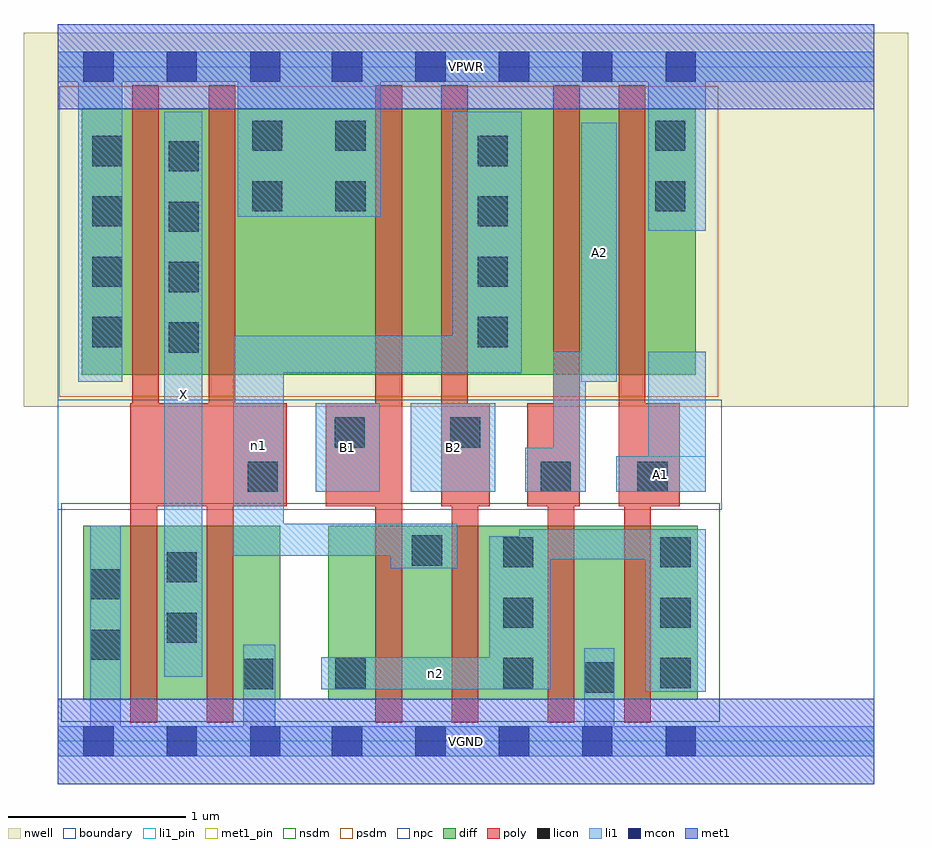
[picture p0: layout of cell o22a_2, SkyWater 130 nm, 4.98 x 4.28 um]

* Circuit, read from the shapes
.subckt o22a_2 A1 A2 B1 B2 VGND VPWR X n1 n2
XM1 X n1 VGND VSUBS sky130_fd_pr__nfet_01v8 w=0.98 l=0.15 m=2
XM2 n1 B1 n2 VSUBS sky130_fd_pr__nfet_01v8 w=0.98 l=0.15
XM3 n2 B2 n1 VSUBS sky130_fd_pr__nfet_01v8 w=0.98 l=0.15
XM4 VGND A2 n2 VSUBS sky130_fd_pr__nfet_01v8 w=0.98 l=0.15
XM5 n2 A1 VGND VSUBS sky130_fd_pr__nfet_01v8 w=0.98 l=0.15
XM6 X n1 VPWR n3 sky130_fd_pr__pfet_01v8 w=1.5 l=0.15 m=2
XM7 n4 B1 VPWR n3 sky130_fd_pr__pfet_01v8 w=1.5 l=0.15
XM8 n1 B2 n4 n3 sky130_fd_pr__pfet_01v8 w=1.5 l=0.15
XM9 n5 A2 n1 n3 sky130_fd_pr__pfet_01v8 w=1.5 l=0.15
XM10 VPWR A1 n5 n3 sky130_fd_pr__pfet_01v8 w=1.5 l=0.15
.ends

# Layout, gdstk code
import gdstk
lib = gdstk.Library(unit=1e-6, precision=1e-09)
def R(c, l, rs):  # rectangles x0, y0, x1, y1
    for r in rs: c.add(gdstk.rectangle(r[:2], r[2:], *l))
def A(c, l, x, y, w, h, nx, ny, dx, dy):  # array of equal rectangles
    R(c, l, [(x+i*dx, y+j*dy, x+i*dx+w, y+j*dy+h) for i in range(nx) for j in range(ny)])
nwell = (64, 20)
diff = (65, 20)
poly = (66, 20)
licon = (66, 44)
li1_pin = (67, 16)
li1 = (67, 20)
mcon = (67, 44)
met1_pin = (68, 16)
met1 = (68, 20)
nsdm = (93, 44)
psdm = (94, 20)
npc = (95, 20)
boundary = (235, 4)

o22a_2 = lib.new_cell('o22a_2')
R(o22a_2, nwell, [(-0.19,1.885,4.79,3.99), (0,1.885,4.6,3.99)])
R(o22a_2, diff, [(0.145,0.235,1.255,1.215), (1.525,0.235,3.605,1.215), (0.135,2.065,3.595,3.565)])
R(o22a_2, poly, [(0.41,0.105,0.56,1.905), (0.84,0.105,0.99,1.905), (1.79,0.105,1.94,3.695), (2.22,0.105,2.37,1.905), (2.76,0.105,2.91,1.905), (3.19,0.105,3.34,1.905), (0.41,1.325,1.29,1.905), (0.42,1.325,0.57,3.695), (0.85,1.325,1,3.695), (1.51,1.325,1.94,1.905), (2.16,1.325,2.31,3.695), (2.16,1.325,2.435,1.905), (2.645,1.325,2.94,1.905), (2.79,1.325,2.94,3.695), (3.16,1.325,3.31,3.695), (3.16,1.325,3.505,1.905)])
A(o22a_2, licon, 2.51, 0.3, 0.17, 0.17, 1, 3, 0, 0.34)
A(o22a_2, licon, 3.395, 0.3, 0.17, 0.17, 1, 3, 0, 0.34)
A(o22a_2, licon, 0.625, 2.19, 0.17, 0.17, 1, 4, 0, 0.34)
A(o22a_2, licon, 0.195, 2.22, 0.17, 0.17, 1, 4, 0, 0.34)
A(o22a_2, licon, 2.365, 2.22, 0.17, 0.17, 1, 4, 0, 0.34)
R(o22a_2, licon, [(2.965,0.275,3.135,0.445), (1.045,0.295,1.215,0.465), (1.565,0.3,1.735,0.47), (0.185,0.46,0.355,0.63), (0.615,0.555,0.785,0.725), (0.185,0.8,0.355,0.97), (0.615,0.895,0.785,1.065), (1.995,0.99,2.165,1.16), (1.07,1.405,1.24,1.575), (2.72,1.405,2.89,1.575), (3.265,1.405,3.435,1.575), (1.56,1.655,1.73,1.825), (2.21,1.655,2.38,1.825), (1.095,2.985,1.265,3.155), (1.565,2.985,1.735,3.155), (3.365,2.985,3.535,3.155), (1.095,3.325,1.265,3.495), (1.565,3.325,1.735,3.495), (3.365,3.325,3.535,3.495)])
R(o22a_2, li1_pin, [(0.6,0.365,0.815,3.545), (1.455,1.405,1.815,1.905), (1.99,1.405,2.465,1.905), (3.145,1.405,3.65,1.605), (2.95,2.025,3.15,3.485)])
R(o22a_2, li1, [(0,-0.085,4.6,0.085), (0.185,-0.085,0.355,1.215), (1.045,-0.085,1.225,0.545), (2.965,-0.085,3.135,0.525), (3.31,0.28,3.65,1.195), (1.485,0.295,2.775,0.475), (2.43,0.295,2.775,1.155), (0.6,0.365,0.815,3.545), (1.875,0.975,2.25,1.225), (2.6,1.025,3.65,1.195), (0.99,1.045,1.275,2.285), (0.99,1.045,2.25,1.225), (1.455,1.405,1.815,1.905), (1.99,1.405,2.465,1.905), (2.635,1.405,2.975,1.655), (2.79,1.405,2.975,2.195), (3.145,1.405,3.65,1.605), (3.325,1.405,3.65,2.195), (0.115,2.025,0.365,3.885), (2.95,2.025,3.15,3.485), (0.99,2.075,2.615,2.285), (2.225,2.075,2.615,3.545), (3.325,2.875,3.65,3.885), (1.015,2.955,1.82,3.885), (0,3.715,4.6,3.885)])
A(o22a_2, mcon, 0.145, -0.085, 0.17, 0.17, 3, 2, 0.47, 3.8)
A(o22a_2, mcon, 1.545, -0.085, 0.17, 0.17, 5, 2, 0.47, 3.8)
R(o22a_2, met1_pin, [(0,-0.24,4.6,0.24), (0,3.56,4.6,4.04)])
R(o22a_2, met1, [(0,-0.24,4.6,0.24), (0,3.56,4.6,4.04)])
R(o22a_2, nsdm, [(0.02,0.11,3.73,1.34)])
R(o22a_2, psdm, [(0.01,1.94,3.72,3.69)])
R(o22a_2, npc, [(0,1.305,3.74,1.925)])
R(o22a_2, boundary, [(0,0,4.6,3.8)])
o22a_2.add(gdstk.Label('A1', (3.397,1.505), layer=67, texttype=5))
o22a_2.add(gdstk.Label('A2', (3.05,2.755), layer=67, texttype=5))
o22a_2.add(gdstk.Label('B1', (1.635,1.655), layer=67, texttype=5))
o22a_2.add(gdstk.Label('B2', (2.227,1.655), layer=67, texttype=5))
o22a_2.add(gdstk.Label('X', (0.707,1.955), layer=67, texttype=5))
o22a_2.add(gdstk.Label('n2', (2.13,0.385), layer=67, texttype=5))
o22a_2.add(gdstk.Label('n1', (1.132,1.665), layer=67, texttype=5))
o22a_2.add(gdstk.Label('VPWR', (2.3,3.8), layer=68, texttype=5))
o22a_2.add(gdstk.Label('VGND', (2.3,0), layer=68, texttype=5))
o22a_2.add(gdstk.Label('A1', (3.397,1.505), layer=67, texttype=16))
o22a_2.add(gdstk.Label('A2', (3.05,2.755), layer=67, texttype=16))
o22a_2.add(gdstk.Label('B1', (1.635,1.655), layer=67, texttype=16))
o22a_2.add(gdstk.Label('B2', (2.227,1.655), layer=67, texttype=16))
o22a_2.add(gdstk.Label('X', (0.707,1.955), layer=67, texttype=16))
o22a_2.add(gdstk.Label('VPWR', (2.3,3.8), layer=68, texttype=16))
o22a_2.add(gdstk.Label('VGND', (2.3,0), layer=68, texttype=16))

lib.write_gds('o22a_2.gds')
